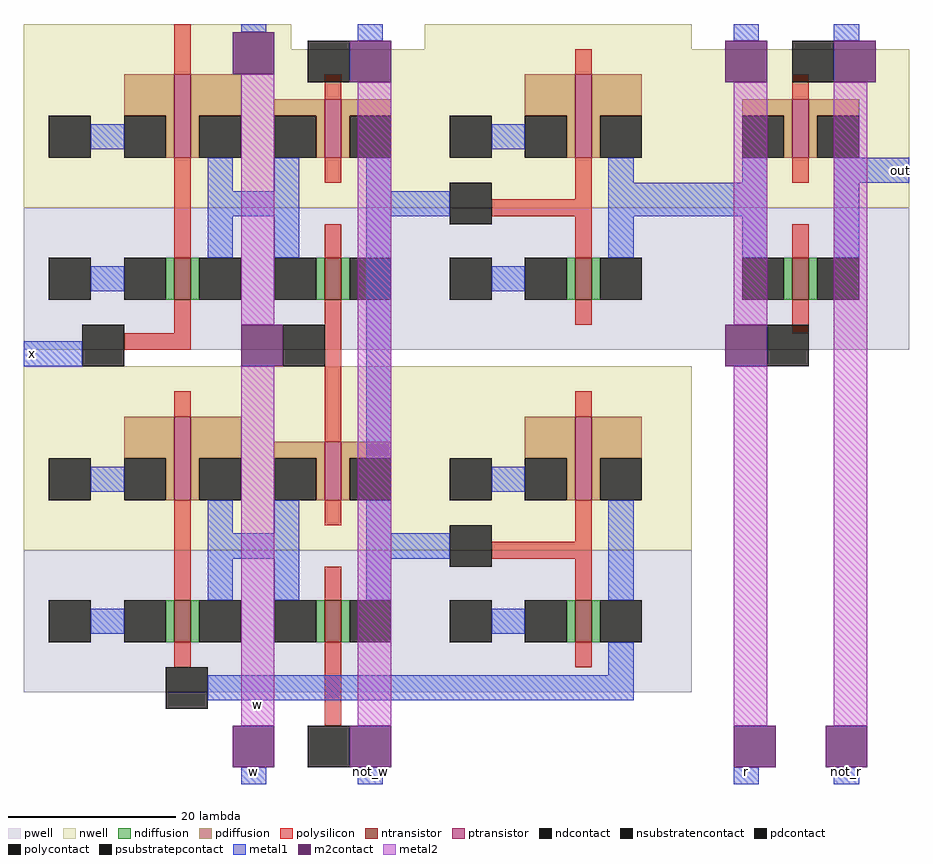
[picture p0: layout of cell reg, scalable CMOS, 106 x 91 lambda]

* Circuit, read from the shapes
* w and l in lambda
.subckt reg GND! Vdd! not_r not_w out r w x
M1 n1 n2 GND! GND! nfet w=5 l=2
M2 n3 x GND! GND! nfet w=5 l=2
M3 stat_0/x not_w n1 GND! nfet w=5 l=2
M4 stat_0/x w n3 GND! nfet w=5 l=2
M5 n2 stat_0/x GND! GND! nfet w=5 l=2
M6 n4 stat_0/x GND! GND! nfet w=5 l=2
M7 out r n4 GND! nfet w=5 l=2
M8 n1 n2 Vdd! Vdd! pfet w=10 l=2
M9 n3 x Vdd! Vdd! pfet w=10 l=2
M10 stat_0/x w n1 Vdd! pfet w=7 l=2
M11 stat_0/x not_w n3 Vdd! pfet w=7 l=2
M12 n2 stat_0/x Vdd! Vdd! pfet w=10 l=2
M13 n4 stat_0/x Vdd! Vdd! pfet w=10 l=2
M14 out not_r n4 Vdd! pfet w=7 l=2
.ends

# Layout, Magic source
magic
tech scmos
<< polysilicon >>
rect 18 78 20 82
rect 56 59 66 61
rect 18 45 20 47
rect 12 43 20 45
rect 36 40 38 47
rect 36 -2 38 1
<< polycontact >>
rect 34 75 39 80
rect 92 75 97 80
rect 51 58 56 63
rect 7 41 12 46
rect 31 41 36 46
rect 89 41 94 46
rect 34 -7 39 -2
<< metal1 >>
rect 26 81 29 82
rect 40 80 43 82
rect 85 80 88 82
rect 97 80 100 82
rect 97 63 106 66
rect 25 59 31 62
rect 44 59 51 62
rect 73 59 87 63
rect 0 41 7 44
rect 41 41 44 55
rect 26 -9 29 -7
rect 40 -9 43 -7
rect 85 -9 88 -7
rect 97 -9 100 -7
<< m2contact >>
rect 25 76 30 81
rect 39 75 44 80
rect 84 75 89 80
rect 97 75 102 80
rect 26 41 31 46
rect 84 41 89 46
rect 25 -7 30 -2
rect 39 -7 44 -2
rect 85 -7 90 -2
rect 96 -7 101 -2
<< metal2 >>
rect 26 46 30 76
rect 26 -2 30 41
rect 40 -2 44 75
rect 85 46 89 75
rect 85 -2 89 41
rect 97 -2 101 75
use inv  inv_1
transform 1 0 12 0 1 66
box -12 -23 20 16
use stat  stat_0
transform 1 0 24 0 1 2
box -24 -2 56 39
use inv  inv_0
transform 1 0 60 0 1 66
box -12 -23 20 16
use trans  trans_0
transform 1 0 33 0 1 65
box -9 -22 17 14
use trans  trans_1
transform 1 0 89 0 1 65
box -9 -22 17 14
<< labels >>
rlabel metal2 26 0 30 1 1 w
rlabel metal1 40 -8 43 -7 1 not_w
rlabel metal1 26 -8 29 -7 1 w
rlabel metal1 97 -8 100 -7 1 not_r
rlabel metal1 85 -8 88 -7 1 r
rlabel metal1 104 63 106 66 7 out
rlabel metal1 0 41 2 44 3 x
<< end >>

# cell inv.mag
magic
tech scmos
<< nwell >>
rect -12 -6 20 16
<< pwell >>
rect -12 -23 20 -6
<< ntransistor >>
rect 6 -17 8 -12
<< ptransistor >>
rect 6 0 8 10
<< ndiffusion >>
rect 5 -17 6 -12
rect 8 -17 9 -12
<< pdiffusion >>
rect 0 5 6 10
rect 5 0 6 5
rect 8 5 14 10
rect 8 0 9 5
<< ndcontact >>
rect 0 -17 5 -12
rect 9 -17 14 -12
<< pdcontact >>
rect 0 0 5 5
rect 9 0 14 5
<< psubstratepcontact >>
rect -9 -17 -4 -12
<< nsubstratencontact >>
rect -9 0 -4 5
<< polysilicon >>
rect 6 10 8 13
rect 6 -12 8 0
rect 6 -20 8 -17
<< metal1 >>
rect -4 1 0 4
rect 10 -12 13 0
rect -4 -16 0 -13
<< labels >>
rlabel metal1 -3 2 -2 3 1 Vdd!
rlabel metal1 -3 -15 -2 -14 1 GND!
<< end >>

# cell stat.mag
magic
tech scmos
<< nwell >>
rect 8 36 25 39
<< polysilicon >>
rect 12 32 14 39
rect 32 16 42 18
rect 12 -2 14 3
<< polycontact >>
rect 27 15 32 20
rect -7 -2 -2 3
<< metal1 >>
rect 17 28 20 39
rect 1 16 7 19
rect 20 16 27 19
rect 46 2 49 6
rect -2 -1 49 2
use inv  inv_0
transform 1 0 -12 0 1 23
box -12 -23 20 16
use inv  inv_1
transform 1 0 36 0 1 23
box -12 -23 20 16
use trans  trans_0
transform 1 0 9 0 1 22
box -9 -22 17 14
<< labels >>
rlabel polysilicon 12 37 14 39 5 w
rlabel polysilicon 12 -2 14 -1 1 not_w
rlabel metal1 18 38 20 39 5 x
<< end >>

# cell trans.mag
magic
tech scmos
<< nwell >>
rect -9 -5 17 14
<< pwell >>
rect -9 -22 17 -5
<< ntransistor >>
rect 3 -16 5 -11
<< ptransistor >>
rect 3 1 5 8
<< ndiffusion >>
rect 2 -16 3 -11
rect 5 -16 6 -11
<< pdiffusion >>
rect -3 6 3 8
rect 2 1 3 6
rect 5 6 11 8
rect 5 1 6 6
<< ndcontact >>
rect -3 -16 2 -11
rect 6 -16 11 -11
<< pdcontact >>
rect -3 1 2 6
rect 6 1 11 6
<< polysilicon >>
rect 3 8 5 11
rect 3 -2 5 1
rect 3 -11 5 -7
rect 3 -20 5 -16
<< metal1 >>
rect -3 -11 0 1
rect 8 -11 11 1
<< end >>
